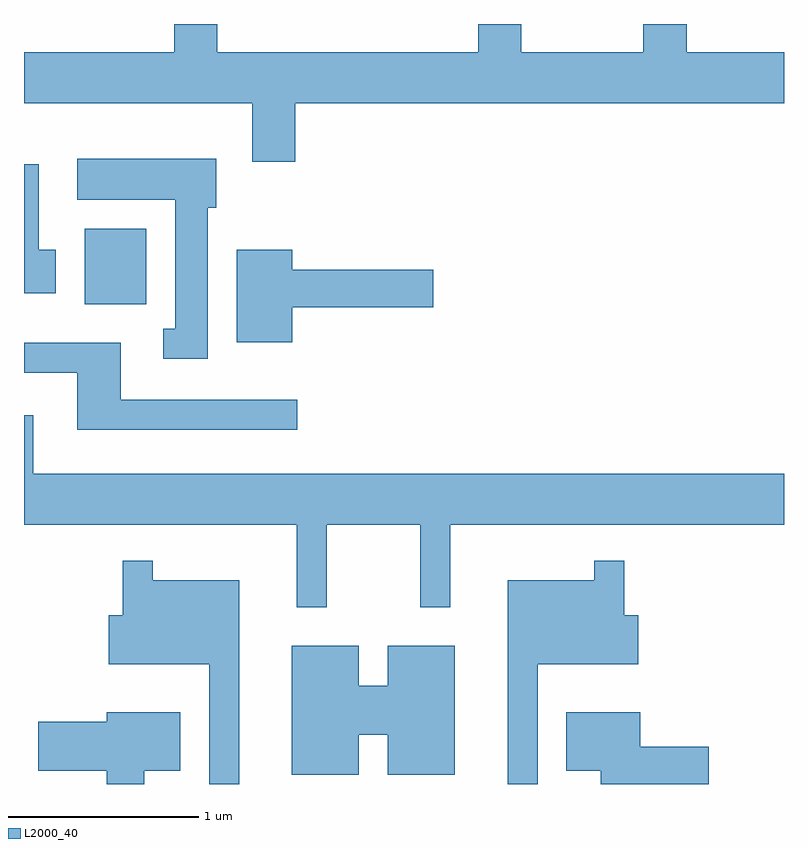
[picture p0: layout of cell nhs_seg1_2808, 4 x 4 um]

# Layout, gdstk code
import gdstk
lib = gdstk.Library(unit=1e-6, precision=1e-09)
def R(c, l, rs):  # rectangles x0, y0, x1, y1
    for r in rs: c.add(gdstk.rectangle(r[:2], r[2:], *l))
def P(c, l, *ps):  # polygons
    for p in ps: c.add(gdstk.Polygon(p, *l))
L2000_40 = (2000, 40)

nhs_seg1_2808 = lib.new_cell('nhs_seg1_2808')
R(nhs_seg1_2808, L2000_40, [(269.931,956.236,270.254,956.634)])
P(nhs_seg1_2808, L2000_40, [(271.039,957.296),(273.611,957.296),(273.611,957.564),(273.099,957.564),(273.099,957.712),(272.871,957.712),(272.871,957.564),(272.229,957.564),(272.229,957.712),(272.001,957.712),(272.001,957.564),(270.629,957.564),(270.629,957.712),(270.401,957.712),(270.401,957.564),(269.611,957.564),(269.611,957.296),(270.811,957.296),(270.811,956.986),(271.039,956.986)],
  [(270.579,956.746),(270.624,956.746),(270.624,957.004),(269.891,957.004),(269.891,956.786),(270.406,956.786),(270.406,956.109),(270.343,956.109),(270.343,955.951),(270.579,955.951)],
  [(269.779,956.524),(269.689,956.524),(269.689,956.974),(269.611,956.974),(269.611,956.296),(269.779,956.296)],
  [(271.024,956.221),(271.764,956.221),(271.764,956.419),(271.024,956.419),(271.024,956.524),(270.731,956.524),(270.731,956.036),(271.024,956.036)],
  [(271.048,955.734),(270.119,955.734),(270.119,956.034),(269.611,956.034),(269.611,955.876),(269.891,955.876),(269.891,955.576),(271.048,955.576)],
  [(271.204,955.076),(271.696,955.076),(271.696,954.643),(271.854,954.643),(271.854,955.076),(273.611,955.076),(273.611,955.344),(269.659,955.344),(269.659,955.654),(269.611,955.654),(269.611,955.076),(271.046,955.076),(271.046,954.643),(271.204,954.643)],
  [(270.744,954.784),(270.289,954.784),(270.289,954.888),(270.131,954.888),(270.131,954.599),(270.056,954.599),(270.056,954.341),(270.586,954.341),(270.586,953.712),(270.744,953.712)],
  [(272.314,954.341),(272.844,954.341),(272.844,954.599),(272.769,954.599),(272.769,954.888),(272.611,954.888),(272.611,954.784),(272.156,954.784),(272.156,953.712),(272.314,953.712)],
  [(271.374,953.971),(271.526,953.971),(271.526,953.761),(271.879,953.761),(271.879,954.439),(271.526,954.439),(271.526,954.229),(271.374,954.229),(271.374,954.439),(271.021,954.439),(271.021,953.761),(271.374,953.761)],
  [(270.244,953.781),(270.434,953.781),(270.434,954.089),(270.046,954.089),(270.046,954.039),(269.686,954.039),(269.686,953.781),(270.046,953.781),(270.046,953.712),(270.244,953.712)],
  [(273.214,953.909),(272.854,953.909),(272.854,954.089),(272.466,954.089),(272.466,953.781),(272.646,953.781),(272.646,953.712),(273.214,953.712)])

lib.write_gds('nhs_seg1_2808.gds')
